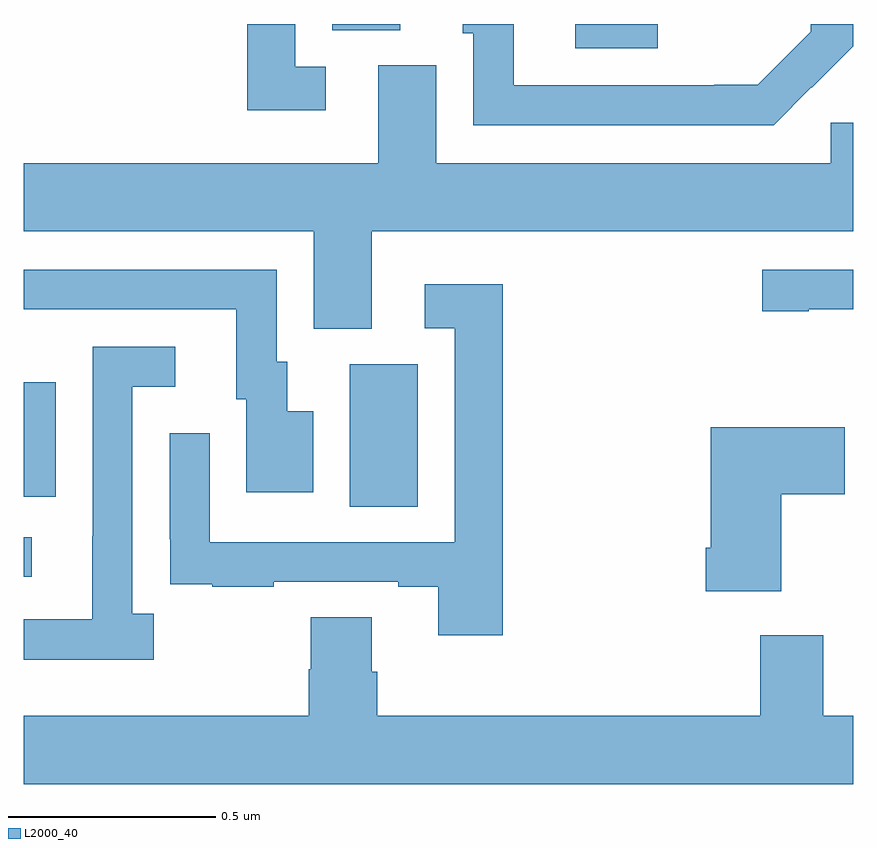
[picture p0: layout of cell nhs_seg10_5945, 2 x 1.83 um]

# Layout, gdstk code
import gdstk
lib = gdstk.Library(unit=1e-6, precision=1e-09)
def R(c, l, rs):  # rectangles x0, y0, x1, y1
    for r in rs: c.add(gdstk.rectangle(r[:2], r[2:], *l))
def P(c, l, *ps):  # polygons
    for p in ps: c.add(gdstk.Polygon(p, *l))
L2000_40 = (2000, 40)

nhs_seg10_5945 = lib.new_cell('nhs_seg10_5945')
R(nhs_seg10_5945, L2000_40, [(185,1282.167,185.02,1282.263), (185.786,1282.336,185.95,1282.68), (185,1282.361,185.077,1282.636), (186.33,1283.442,186.528,1283.5), (185.744,1283.485,185.908,1283.5)])
P(nhs_seg10_5945, L2000_40, [(186.899,1283.347),(186.9,1283.346),(187,1283.446),(187,1283.5),(186.897,1283.5),(186.897,1283.481),(186.769,1283.353),(186.665,1283.353),(186.665,1283.352),(186.181,1283.352),(186.181,1283.5),(186.059,1283.5),(186.059,1283.478),(186.084,1283.478),(186.084,1283.256),(186.808,1283.256)],
  [(185.728,1283.397),(185.655,1283.397),(185.655,1283.5),(185.539,1283.5),(185.539,1283.292),(185.728,1283.292)],
  [(185.839,1283),(187,1283),(187,1283.262),(186.945,1283.262),(186.945,1283.164),(185.995,1283.164),(185.995,1283.4),(185.855,1283.4),(185.855,1283.164),(185,1283.164),(185,1283),(185.699,1283),(185.699,1282.765),(185.839,1282.765)],
  [(185.698,1282.567),(185.635,1282.567),(185.635,1282.686),(185.61,1282.686),(185.61,1282.908),(185,1282.908),(185,1282.812),(185.513,1282.812),(185.513,1282.596),(185.537,1282.596),(185.537,1282.371),(185.698,1282.371)],
  [(186.892,1282.812),(187,1282.812),(187,1282.908),(186.78,1282.908),(186.78,1282.807),(186.892,1282.807)],
  [(186.155,1282.873),(185.967,1282.873),(185.967,1282.767),(186.039,1282.767),(186.039,1282.251),(185.448,1282.251),(185.448,1282.513),(185.352,1282.513),(185.352,1282.258),(185.353,1282.258),(185.353,1282.149),(185.455,1282.149),(185.455,1282.143),(185.603,1282.143),(185.603,1282.155),(185.903,1282.155),(185.903,1282.143),(185.999,1282.143),(185.999,1282.026),(186.155,1282.026)],
  [(185.314,1282.078),(185.262,1282.078),(185.262,1282.626),(185.365,1282.626),(185.365,1282.722),(185.166,1282.722),(185.166,1282.265),(185.165,1282.265),(185.165,1282.065),(185,1282.065),(185,1281.968),(185.314,1281.968)],
  [(186.826,1282.366),(186.979,1282.366),(186.979,1282.528),(186.656,1282.528),(186.656,1282.237),(186.644,1282.237),(186.644,1282.133),(186.826,1282.133)],
  [(187,1281.832),(186.928,1281.832),(186.928,1282.027),(186.776,1282.027),(186.776,1281.832),(185.852,1281.832),(185.852,1281.938),(185.839,1281.938),(185.839,1282.07),(185.692,1282.07),(185.692,1281.945),(185.687,1281.945),(185.687,1281.832),(185,1281.832),(185,1281.668),(187,1281.668)])

lib.write_gds('nhs_seg10_5945.gds')
